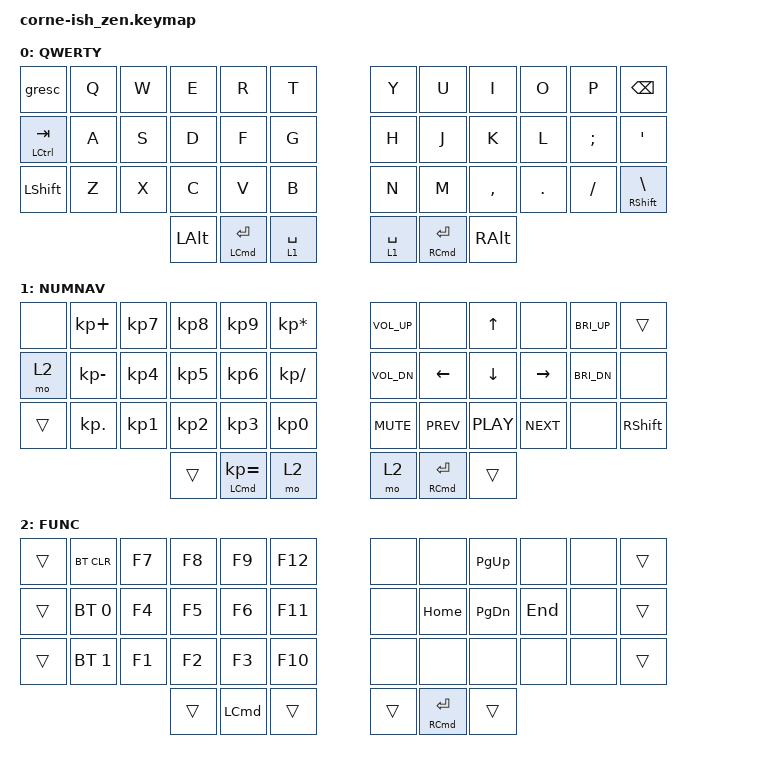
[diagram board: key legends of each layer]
/*
*
* Copyright (c) 2021 Darryl deHaan
* SPDX-License-Identifier: MIT
*
*/

#include <behaviors.dtsi>
#include <dt-bindings/zmk/keys.h>
#include <dt-bindings/zmk/bt.h>

/ {

//  combos {
//    #include "combos.dtsi"
//  };


macros {
    ZMK_MACRO(pt_cao,
        wait-ms = <30>;
        tap-ms = <40>;
        bindings = <&kp LA(C) &kp LA(N) &kp A &kp O>;
    )
    ZMK_MACRO(pt_coes,
        wait-ms = <30>;
        tap-ms = <40>;
        bindings = <&kp LA(C) &kp LA(N) &kp O &kp E &kp S>;
    )
    ZMK_MACRO(pt_aas,
        wait-ms = <30>;
        tap-ms = <10>;
        bindings = <&kp LA(GRAVE) &kp A &kp S>;
    )
};


/* Corne-ish Zen key positions
  ╭────────────────────────╮ ╭────────────────────────╮
  │  0   1   2   3   4   5 │ │  6   7   8   9  10  11 │
  │ 12  13  14  15  16  17 │ │ 18  19  20  21  22  23 │
  │ 24  25  26  27  28  29 │ │ 30  31  32  33  34  35 │
  ╰───────────╮ 36  37  38 │ │ 39  40  41 ╭───────────╯
              ╰────────────╯ ╰────────────╯            */

              
combos {
        compatible = "zmk,combos";
        
        // some modifiers
        combo_esc {
            timeout-ms = <50>;
            key-positions = <0 1>;
            bindings = <&kp ESC>;
        };
        combo_enter {
            timeout-ms = <50>;
            key-positions = <21 22>;
            bindings = <&kp RET>;
        };
        // number row vertical combos
        combo_grave {
            timeout-ms = <50>;
            key-positions = <0 12>;
            bindings = <&kp GRAVE>;
        };
        combo_1 {
            timeout-ms = <50>;
            key-positions = <1 13>;
            bindings = <&kp N1>;
        };
        combo_2 {
            timeout-ms = <50>;
            key-positions = <2 14>;
            bindings = <&kp N2>;
        };
        combo_3 {
            timeout-ms = <50>;
            key-positions = <3 15>;
            bindings = <&kp N3>;
        };
        combo_4 {
            timeout-ms = <50>;
            key-positions = <4 16>;
            bindings = <&kp N4>;
        };
        combo_5 {
            timeout-ms = <50>;
            key-positions = <5 17>;
            bindings = <&kp N5>;
        };
        combo_6 {
            timeout-ms = <50>;
            key-positions = <6 18>;
            bindings = <&kp N6>;
        };
        combo_7 {
            timeout-ms = <50>;
            key-positions = <7 19>;
            bindings = <&kp N7>;
        };
        combo_8 {
            timeout-ms = <50>;
            key-positions = <8 20>;
            bindings = <&kp N8>;
        };
        combo_9 {
            timeout-ms = <50>;
            key-positions = <9 21>;
            bindings = <&kp N9>;
        };
        combo_0 {
            timeout-ms = <50>;
            key-positions = <10 22>;
            bindings = <&kp N0>;
        };
        // symbols
        combo_minus {
            timeout-ms = <50>;
            key-positions = <19 31>;
            bindings = <&kp MINUS>;
        };
        combo_equal{
            timeout-ms = <50>;
            key-positions = <20 32>;
            bindings = <&kp EQUAL>;
        };
        combo_leftbracket {
            timeout-ms = <50>;
            key-positions = <21 33>;
            bindings = <&kp LBKT>;
        };
        combo_rightbracket {
            timeout-ms = <50>;
            key-positions = <22 34>;
            bindings = <&kp RBKT>;
        };
        combo_leftreset {
            timeout-ms = <50>;
            key-positions = <0 5>;
            bindings = <&reset>;
        };
        combo_rightreset {
            timeout-ms = <50>;
            key-positions = <6 11>;
            bindings = <&reset>;
        };
        // accents
        combo_cedilla {
            timeout-ms = <50>;
            key-positions = <27 28>;
            bindings = <&kp LA(C)>;
        };
        combo_atilde {
            timeout-ms = <50>;
            key-positions = <12 13>;
            bindings = <&kp LA(N) &kp A>;
        };
        combo_cao {
            timeout-ms = <50>;
            key-positions = <13 27 9>;
            bindings = <&pt_cao>;
        };
        combo_coes {
            timeout-ms = <50>;
            key-positions = <9 27 14>;
            bindings = <&pt_coes>;
        };
        combo_aas {
            timeout-ms = <50>;
            key-positions = <13 14 15>;
            bindings = <&pt_aas>;
        }; 
};       
              

        keymap {
                compatible = "zmk,keymap";

                default_layer {
                        label = "QWERTY";
                        bindings = <

// ╭─────────────┬─────────────┬─────────────┬─────────────┬─────────────┬─────────────╮   ╭─────────────┬─────────────┬─────────────┬─────────────┬─────────────┬─────────────╮
    &gresc          &kp Q         &kp W         &kp E         &kp R         &kp T             &kp Y         &kp U         &kp I         &kp O         &kp P         &kp BSPC
// ├─────────────┼─────────────┼─────────────┼─────────────┼─────────────┼─────────────┤   ├─────────────┼─────────────┼─────────────┼─────────────┼─────────────┼─────────────┤
    &mt LCTRL TAB   &kp A         &kp S         &kp D         &kp F         &kp G             &kp H         &kp J         &kp K         &kp L         &kp SEMI      &kp SQT
// ├─────────────┼─────────────┼─────────────┼─────────────┼─────────────┼─────────────┤   ├─────────────┼─────────────┼─────────────┼─────────────┼─────────────┼─────────────┤
    &kp LSHFT       &kp Z         &kp X         &kp C         &kp V         &kp B             &kp N         &kp M         &kp COMMA     &kp DOT       &kp FSLH    &mt RSHFT BSLH
// ╰─────────────┴─────────────┴─────────────┼─────────────┼─────────────┼─────────────┤   ├─────────────┼─────────────┼─────────────┼─────────────┴─────────────┴─────────────╯
                                                &kp LALT    &mt LCMD RET   &lt 1 SPACE       &lt 1 SPACE   &mt RCMD RET   &kp RALT
//                                           ╰─────────────┴─────────────┴─────────────╯   ╰─────────────┴─────────────┴─────────────╯

                        >;
                };
                lower_layer {
                        label = "NUMNAV";
                        bindings = <
// ╭─────────────┬─────────────┬─────────────┬─────────────┬─────────────┬─────────────╮   ╭─────────────┬─────────────┬─────────────┬─────────────┬─────────────┬─────────────╮
     &none         &kp KP_PLUS   &kp KP_N7     &kp KP_N8     &kp KP_N9     &kp KP_MULTIPLY   &kp C_VOL_UP  &none         &kp UP        &none         &kp C_BRI_UP  &trans
// ├─────────────┼─────────────┼─────────────┼─────────────┼─────────────┼─────────────┤   ├─────────────┼─────────────┼─────────────┼─────────────┼─────────────┼─────────────┤
     &mo 2         &kp KP_MINUS  &kp KP_N4     &kp KP_N5     &kp KP_N6     &kp KP_DIVIDE     &kp C_VOL_DN  &kp LEFT      &kp DOWN      &kp RIGHT     &kp C_BRI_DN  &none
// ├─────────────┼─────────────┼─────────────┼─────────────┼─────────────┼─────────────┤   ├─────────────┼─────────────┼─────────────┼─────────────┼─────────────┼─────────────┤
     &trans        &kp KP_DOT    &kp KP_N1     &kp KP_N2     &kp KP_N3     &kp KP_N0         &kp C_MUTE    &kp C_PREV    &kp C_PLAY    &kp C_NEXT    &none         &kp RSHIFT
// ╰─────────────┴─────────────┴─────────────┼─────────────┼─────────────┼─────────────┤   ├─────────────┼─────────────┼─────────────┼─────────────┴─────────────┴─────────────╯
                          	                   &trans       &mt LCMD KP_EQUAL  &mo 2           &mo 2       &mt RCMD RET  &trans
//                                           ╰─────────────┴─────────────┴─────────────╯   ╰─────────────┴─────────────┴─────────────╯

                        >;
                };
                function_layer {
                        label = "FUNC";
                        bindings = <
// ╭─────────────┬─────────────┬─────────────┬─────────────┬─────────────┬─────────────╮   ╭─────────────┬─────────────┬─────────────┬─────────────┬─────────────┬─────────────╮
     &trans        &bt BT_CLR    &kp F7        &kp F8        &kp F9        &kp F12           &none         &none         &kp PAGE_UP   &none         &none         &trans
// ├─────────────┼─────────────┼─────────────┼─────────────┼─────────────┼─────────────┤   ├─────────────┼─────────────┼─────────────┼─────────────┼─────────────┼─────────────┤
     &trans        &bt BT_SEL 0  &kp F4        &kp F5        &kp F6        &kp F11           &none         &kp HOME      &kp PAGE_DOWN &kp END       &none         &trans
// ├─────────────┼─────────────┼─────────────┼─────────────┼─────────────┼─────────────┤   ├─────────────┼─────────────┼─────────────┼─────────────┼─────────────┼─────────────┤
     &trans        &bt BT_SEL 1  &kp F1        &kp F2        &kp F3        &kp F10           &none         &none         &none         &none         &none         &trans
// ╰─────────────┴─────────────┴─────────────┼─────────────┼─────────────┼─────────────┤   ├─────────────┼─────────────┼─────────────┼─────────────┴─────────────┴─────────────╯
                          	                   &trans       &kp LCMD       &trans              &trans      &mt RCMD RET  &trans
//                                           ╰─────────────┴─────────────┴─────────────╯   ╰─────────────┴─────────────┴─────────────╯

                        >;
                };

        };
};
